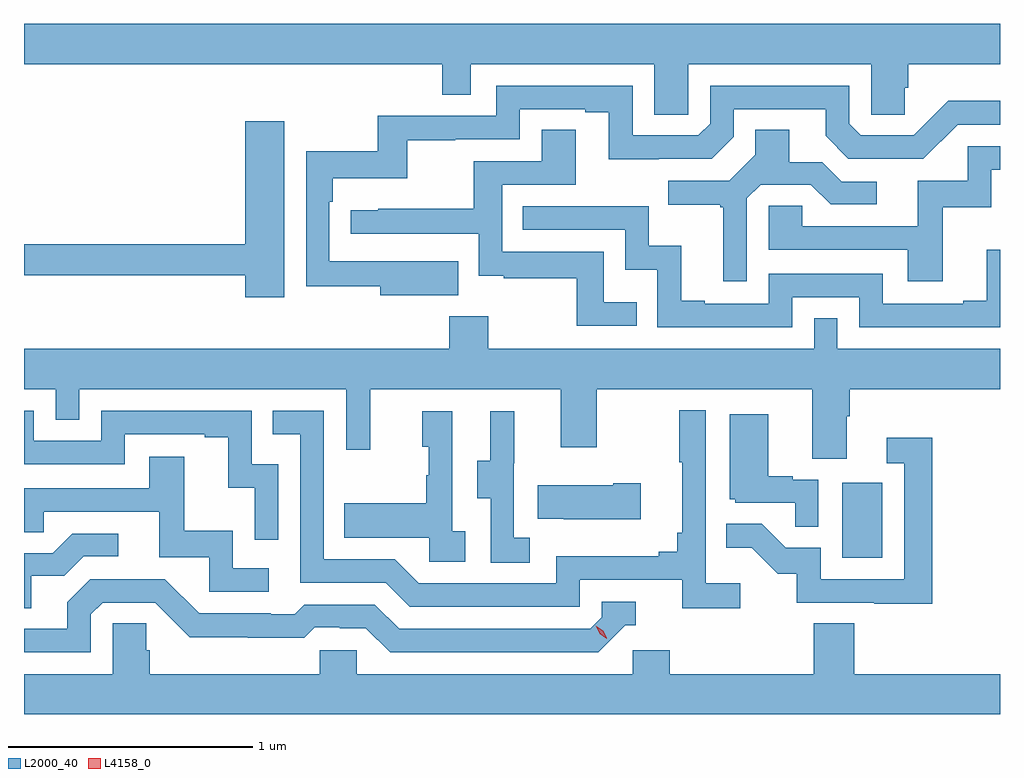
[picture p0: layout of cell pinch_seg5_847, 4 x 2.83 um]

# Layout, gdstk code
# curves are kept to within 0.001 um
import gdstk
lib = gdstk.Library(unit=1e-6, precision=1e-09)
def R(c, l, rs):  # rectangles x0, y0, x1, y1
    for r in rs: c.add(gdstk.rectangle(r[:2], r[2:], *l))
def P(c, l, *ps):  # polygons
    for p in ps: c.add(gdstk.Polygon(p, *l))
L2000_40 = (2000, 40)
L4158_0 = (4158, 0)

pinch_seg5_847 = lib.new_cell('pinch_seg5_847')
R(pinch_seg5_847, L2000_40, [(854.228,890.7,854.392,891.007)])
P(pinch_seg5_847, L2000_40, [(853.596,892.724),(854.346,892.724),(854.346,892.516),(854.483,892.516),(854.483,892.626),(854.498,892.626),(854.498,892.724),(854.874,892.724),(854.874,892.888),(850.874,892.888),(850.874,892.724),(852.589,892.724),(852.589,892.597),(852.705,892.597),(852.705,892.724),(853.457,892.724),(853.457,892.516),(853.596,892.516)],
  [(852.653,891.916),(852.126,891.915),(852.126,892.16),(852.14,892.16),(852.14,892.256),(852.445,892.256),(852.445,892.411),(852.641,892.411),(852.641,892.416),(852.906,892.416),(852.906,892.539),(853.175,892.539),(853.175,892.527),(853.271,892.527),(853.271,892.334),(853.692,892.335),(853.782,892.425),(853.782,892.539),(854.159,892.539),(854.159,892.429),(854.253,892.335),(854.559,892.335),(854.7,892.476),(854.874,892.476),(854.874,892.573),(854.662,892.573),(854.52,892.431),(854.304,892.431),(854.256,892.479),(854.256,892.635),(853.686,892.635),(853.686,892.479),(853.638,892.431),(853.368,892.431),(853.368,892.635),(852.81,892.635),(852.81,892.512),(852.324,892.512),(852.324,892.366),(852.03,892.366),(852.03,891.814),(852.335,891.814),(852.335,891.776),(852.653,891.776)],
  [(851.941,892.489),(851.78,892.489),(851.78,891.986),(850.874,891.986),(850.874,891.858),(851.78,891.858),(851.78,891.768),(851.941,891.768)],
  [(853.836,892.173),(853.893,892.23),(854.099,892.23),(854.18,892.149),(854.368,892.149),(854.368,892.242),(854.226,892.242),(854.146,892.322),(854.011,892.322),(854.011,892.454),(853.871,892.454),(853.871,892.352),(853.764,892.245),(853.515,892.245),(853.515,892.148),(853.728,892.148),(853.728,892.137),(853.739,892.137),(853.739,891.834),(853.836,891.834)],
  [(853.385,891.748),(853.251,891.748),(853.251,891.954),(852.834,891.954),(852.834,892.23),(853.135,892.23),(853.135,892.454),(852.995,892.454),(852.995,892.326),(852.718,892.326),(852.718,892.13),(852.325,892.13),(852.325,892.125),(852.213,892.125),(852.213,892.029),(852.738,892.029),(852.738,891.857),(852.841,891.857),(852.841,891.846),(853.14,891.846),(853.14,891.651),(853.385,891.651)],
  [(854.639,892.137),(854.838,892.137),(854.838,892.29),(854.874,892.29),(854.874,892.386),(854.742,892.386),(854.742,892.245),(854.537,892.245),(854.537,892.059),(854.063,892.059),(854.063,892.143),(853.926,892.143),(853.926,891.963),(854.495,891.963),(854.495,891.834),(854.639,891.834)],
  [(854.022,891.768),(854.298,891.768),(854.298,891.645),(854.874,891.645),(854.874,891.962),(854.819,891.962),(854.819,891.754),(854.723,891.754),(854.723,891.741),(854.394,891.741),(854.394,891.864),(853.926,891.864),(853.926,891.741),(853.663,891.741),(853.663,891.754),(853.567,891.754),(853.567,891.979),(853.434,891.979),(853.434,892.14),(852.919,892.14),(852.919,892.044),(853.338,892.044),(853.338,891.881),(853.47,891.881),(853.47,891.645),(854.022,891.645)],
  [(854.245,891.28),(854.258,891.28),(854.258,891.392),(854.874,891.392),(854.874,891.556),(854.208,891.556),(854.208,891.683),(854.112,891.683),(854.112,891.556),(852.777,891.556),(852.777,891.691),(852.617,891.691),(852.617,891.556),(850.874,891.556),(850.874,891.392),(851.004,891.392),(851.004,891.265),(851.1,891.265),(851.1,891.392),(852.195,891.392),(852.195,891.144),(852.293,891.144),(852.293,891.392),(853.073,891.392),(853.073,891.153),(853.221,891.153),(853.221,891.392),(854.105,891.392),(854.105,891.106),(854.245,891.106)],
  [(853.81,890.596),(853.668,890.596),(853.668,891.304),(853.56,891.304),(853.56,891.091),(853.571,891.091),(853.571,890.803),(853.552,890.803),(853.552,890.726),(853.475,890.726),(853.475,890.707),(853.056,890.707),(853.056,890.595),(852.492,890.595),(852.393,890.694),(852.102,890.694),(852.102,891.303),(851.893,891.303),(851.893,891.207),(852.006,891.207),(852.006,890.598),(852.356,890.598),(852.455,890.499),(853.152,890.499),(853.152,890.61),(853.571,890.61),(853.571,890.494),(853.81,890.494)],
  [(851.916,891.084),(851.808,891.084),(851.808,891.303),(851.19,891.303),(851.19,891.18),(850.914,891.18),(850.914,891.303),(850.874,891.303),(850.874,891.084),(851.286,891.084),(851.286,891.207),(851.615,891.207),(851.615,891.195),(851.711,891.195),(851.711,890.987),(851.82,890.987),(851.82,890.775),(851.916,890.775)],
  [(852.682,890.81),(852.63,890.81),(852.63,891.301),(852.506,891.301),(852.506,891.156),(852.532,891.156),(852.532,891.038),(852.522,891.038),(852.522,890.923),(852.187,890.923),(852.187,890.783),(852.534,890.783),(852.534,890.685),(852.682,890.685)],
  [(852.946,890.783),(852.882,890.783),(852.882,891.087),(852.884,891.087),(852.884,891.301),(852.785,891.301),(852.785,891.099),(852.731,891.099),(852.731,890.944),(852.786,890.944),(852.786,890.68),(852.946,890.68)],
  [(854.13,891.021),(854.024,891.021),(854.024,891.034),(853.924,891.034),(853.924,891.289),(853.766,891.289),(853.766,890.94),(853.788,890.94),(853.788,890.925),(854.035,890.925),(854.035,890.827),(854.13,890.827)],
  [(854.597,891.193),(854.409,891.193),(854.409,891.087),(854.481,891.087),(854.481,890.613),(854.139,890.613),(854.139,890.742),(853.995,890.742),(853.897,890.84),(853.753,890.84),(853.753,890.741),(853.857,890.741),(853.964,890.634),(854.041,890.634),(854.041,890.517),(854.359,890.517),(854.359,890.512),(854.597,890.512)],
  [(851.878,890.658),(851.73,890.658),(851.73,890.812),(851.531,890.812),(851.531,891.115),(851.387,891.115),(851.387,890.985),(850.874,890.985),(850.874,890.805),(850.955,890.805),(850.955,890.889),(851.429,890.889),(851.429,890.703),(851.634,890.703),(851.634,890.562),(851.878,890.562)],
  [(853.402,891.006),(853.289,891.006),(853.289,890.998),(852.979,890.998),(852.979,890.861),(853.087,890.861),(853.087,890.858),(853.402,890.858)],
  [(850.903,890.626),(851.038,890.626),(851.118,890.706),(851.26,890.706),(851.26,890.799),(851.072,890.799),(850.991,890.718),(850.874,890.718),(850.874,890.494),(850.903,890.494)],
  [(851.148,890.469),(851.196,890.517),(851.412,890.517),(851.554,890.375),(851.79,890.375),(851.79,890.373),(852.023,890.373),(852.065,890.415),(852.168,890.415),(852.168,890.412),(852.275,890.412),(852.374,890.313),(853.227,890.313),(853.338,890.424),(853.381,890.424),(853.381,890.52),(853.242,890.52),(853.242,890.457),(853.194,890.409),(852.411,890.409),(852.312,890.508),(852.023,890.508),(851.984,890.469),(851.885,890.469),(851.885,890.472),(851.592,890.472),(851.451,890.613),(851.145,890.613),(851.051,890.519),(851.051,890.409),(850.874,890.409),(850.874,890.313),(851.148,890.313)],
  [(854.874,890.224),(854.276,890.224),(854.276,890.432),(854.111,890.432),(854.111,890.224),(853.52,890.224),(853.52,890.322),(853.368,890.322),(853.368,890.224),(852.237,890.224),(852.237,890.322),(852.087,890.322),(852.087,890.224),(851.39,890.224),(851.39,890.322),(851.375,890.322),(851.375,890.432),(851.238,890.432),(851.238,890.224),(850.874,890.224),(850.874,890.06),(854.874,890.06)])
P(pinch_seg5_847, L4158_0, [(853.263,890.369),(853.233,890.389),(853.217,890.421),(853.217,890.422),(853.217,890.422),(853.248,890.402),(853.263,890.37),(853.263,890.369)])

lib.write_gds('pinch_seg5_847.gds')
